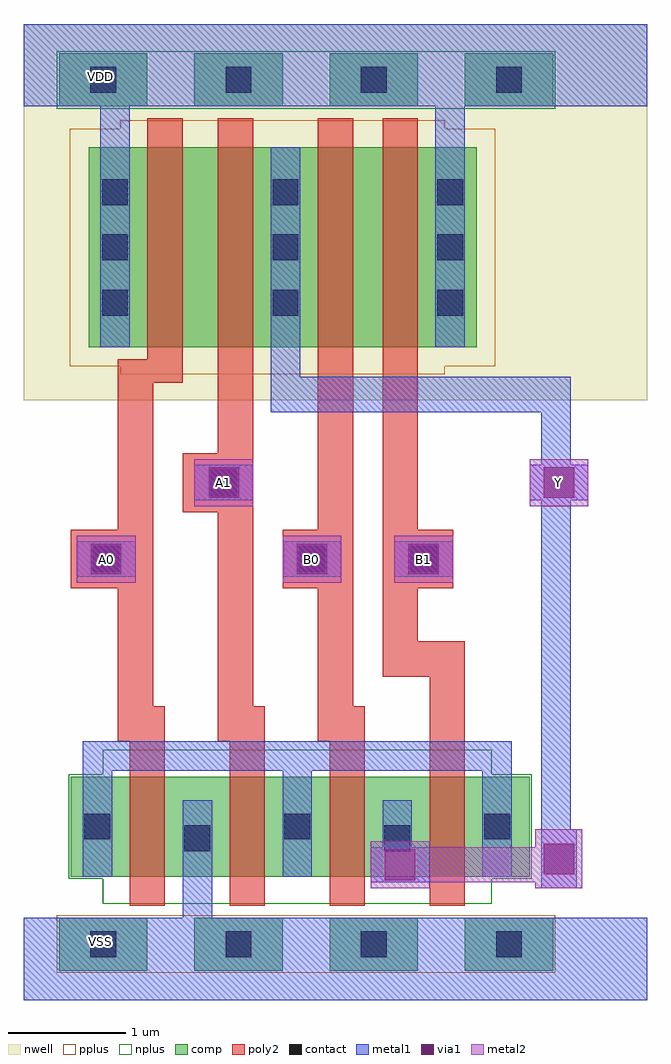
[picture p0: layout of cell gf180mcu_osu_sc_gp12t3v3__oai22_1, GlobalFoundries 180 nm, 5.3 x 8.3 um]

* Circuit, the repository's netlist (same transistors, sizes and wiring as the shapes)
* Copyright 2022 Google LLC
*
* Licensed under the Apache License, Version 2.0 (the "License");
* you may not use this file except in compliance with the License.
* You may obtain a copy of the License at
*
*      http://www.apache.org/licenses/LICENSE-2.0
*
* Unless required by applicable law or agreed to in writing, software
* distributed under the License is distributed on an "AS IS" BASIS,
* WITHOUT WARRANTIES OR CONDITIONS OF ANY KIND, either express or implied.
* See the License for the specific language governing permissions and
* limitations under the License.

* NGSPICE file created from gf180mcu_osu_sc_gp12t3v3__oai22_1.ext - technology: gf180mcuC

.subckt gf180mcu_osu_sc_gp12t3v3__oai22_1 A0 A1 B0 B1 Y VDD VSS
X0 a_8_21# B1 Y VSS nfet_03p3 w=0.85u l=0.3u
X1 Y B0 a_8_21# VSS nfet_03p3 w=0.85u l=0.3u
X2 VSS A0 a_8_21# VSS nfet_03p3 w=0.85u l=0.3u
X3 VDD B1 a_56_111# VDD pfet_03p3 w=1.7u l=0.3u
X4 a_27_111# A0 VDD VDD pfet_03p3 w=1.7u l=0.3u
X5 a_56_111# B0 Y VDD pfet_03p3 w=1.7u l=0.3u
X6 Y A1 a_27_111# VDD pfet_03p3 w=1.7u l=0.3u
X7 a_8_21# A1 VSS VSS nfet_03p3 w=0.85u l=0.3u
.ends

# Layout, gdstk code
import gdstk
lib = gdstk.Library(unit=1e-6, precision=1e-09)
def R(c, l, rs):  # rectangles x0, y0, x1, y1
    for r in rs: c.add(gdstk.rectangle(r[:2], r[2:], *l))
def A(c, l, x, y, w, h, nx, ny, dx, dy):  # array of equal rectangles
    R(c, l, [(x+i*dx, y+j*dy, x+i*dx+w, y+j*dy+h) for i in range(nx) for j in range(ny)])
nwell = (21, 0)
comp = (22, 0)
poly2 = (30, 0)
pplus = (31, 0)
nplus = (32, 0)
contact = (33, 0)
metal1 = (34, 0)
via1 = (35, 0)
metal2 = (36, 0)

gf180mcu_osu_sc_gp12t3v3 = lib.new_cell('gf180mcu_osu_sc_gp12t3v3__oai22_1')
R(gf180mcu_osu_sc_gp12t3v3, nwell, [(0,5.1,5.3,8.3)])
A(gf180mcu_osu_sc_gp12t3v3, comp, 0.3, 0.25, 0.75, 0.45, 4, 2, 1.15, 7.35)
R(gf180mcu_osu_sc_gp12t3v3, comp, [(0.4,1.05,4.3,1.9), (0.55,5.55,3.85,7.25)])
A(gf180mcu_osu_sc_gp12t3v3, poly2, 0.9, 0.8, 0.3, 1.4, 3, 1, 0.85, 0)
A(gf180mcu_osu_sc_gp12t3v3, poly2, 0.8, 2.2, 0.4, 0.3, 3, 1, 0.85, 0)
R(gf180mcu_osu_sc_gp12t3v3, poly2, [(3.45,0.8,3.75,2.75), (0.8,2.5,1.1,3.5), (1.65,2.5,1.95,4.15), (2.5,2.5,2.8,3.5), (3.05,2.75,3.75,3.05), (3.05,3.05,3.35,3.5), (0.4,3.5,1.1,4), (2.2,3.5,2.8,4), (3.05,3.5,3.65,4), (0.8,4,1.1,5.25), (2.5,4,2.8,7.5), (3.05,4,3.35,7.5), (1.35,4.15,1.95,4.65), (1.65,4.65,1.95,7.5), (0.8,5.25,1.35,5.45), (1.05,5.45,1.35,7.5)])
R(gf180mcu_osu_sc_gp12t3v3, pplus, [(0.28,0.23,4.52,0.72), (0.82,5.32,3.58,5.39), (0.39,5.39,4.01,7.41), (0.82,7.41,3.58,7.48)])
R(gf180mcu_osu_sc_gp12t3v3, nplus, [(0.67,0.82,3.98,1.03), (0.38,1.03,4.32,1.92), (0.67,1.92,3.98,2.13), (0.28,7.58,4.52,8.07)])
A(gf180mcu_osu_sc_gp12t3v3, contact, 0.565, 0.365, 0.22, 0.22, 4, 2, 1.15, 7.35)
A(gf180mcu_osu_sc_gp12t3v3, contact, 0.515, 1.365, 0.22, 0.22, 3, 1, 1.7, 0)
A(gf180mcu_osu_sc_gp12t3v3, contact, 0.665, 5.82, 0.22, 0.22, 1, 3, 0, 0.47)
A(gf180mcu_osu_sc_gp12t3v3, contact, 2.115, 5.82, 0.22, 0.22, 1, 3, 0, 0.47)
A(gf180mcu_osu_sc_gp12t3v3, contact, 3.515, 5.82, 0.22, 0.22, 1, 3, 0, 0.47)
R(gf180mcu_osu_sc_gp12t3v3, contact, [(1.365,1.265,1.585,1.485), (3.065,1.265,3.285,1.485), (0.59,3.64,0.81,3.86), (2.34,3.64,2.56,3.86), (3.29,3.64,3.51,3.86), (1.59,4.29,1.81,4.51)])
A(gf180mcu_osu_sc_gp12t3v3, metal1, 0.5, 1.05, 0.25, 0.9, 3, 1, 1.7, 0)
R(gf180mcu_osu_sc_gp12t3v3, metal1, [(0,0,5.3,0.7), (1.35,0.7,1.6,1.7), (4.4,0.95,4.7,1.45), (2.95,1,3.45,1.3), (3.05,1.3,3.3,1.7), (4.4,1.45,4.65,4.25), (0.5,1.95,4.15,2.2), (0.45,3.6,0.95,3.9), (2.2,3.6,2.7,3.9), (3.15,3.6,3.65,3.9), (1.45,4.25,1.95,4.55), (4.3,4.25,4.8,4.55), (4.4,4.55,4.65,5), (2.1,5,4.65,5.3), (2.1,5.3,2.35,7.25), (0.65,5.55,0.9,7.6), (3.5,5.55,3.75,7.6), (0,7.6,5.3,8.3)])
R(gf180mcu_osu_sc_gp12t3v3, via1, [(3.07,1.02,3.33,1.28), (4.42,1.07,4.68,1.33), (0.57,3.62,0.83,3.88), (2.32,3.62,2.58,3.88), (3.27,3.62,3.53,3.88), (1.57,4.27,1.83,4.53), (4.42,4.27,4.68,4.53)])
R(gf180mcu_osu_sc_gp12t3v3, metal2, [(2.95,0.95,3.45,1), (4.35,0.95,4.75,1), (2.95,1,4.75,1.3), (2.95,1.3,3.45,1.35), (4.35,1.3,4.75,1.45), (0.45,3.55,0.95,3.95), (2.2,3.55,2.7,3.95), (3.15,3.55,3.65,3.95), (1.45,4.2,1.95,4.6), (4.3,4.2,4.8,4.6)])
gf180mcu_osu_sc_gp12t3v3.add(gdstk.Label('A0', (0.7,3.75), layer=36, texttype=10))
gf180mcu_osu_sc_gp12t3v3.add(gdstk.Label('A1', (1.7,4.4), layer=36, texttype=10))
gf180mcu_osu_sc_gp12t3v3.add(gdstk.Label('B0', (2.45,3.75), layer=36, texttype=10))
gf180mcu_osu_sc_gp12t3v3.add(gdstk.Label('B1', (3.4,3.75), layer=36, texttype=10))
gf180mcu_osu_sc_gp12t3v3.add(gdstk.Label('Y', (4.55,4.4), layer=36, texttype=10))
gf180mcu_osu_sc_gp12t3v3.add(gdstk.Label('VDD', (0.65,7.85), layer=34, texttype=10))
gf180mcu_osu_sc_gp12t3v3.add(gdstk.Label('VSS', (0.65,0.5), layer=34, texttype=10))

lib.write_gds('gf180mcu_osu_sc_gp12t3v3__oai22_1.gds')
